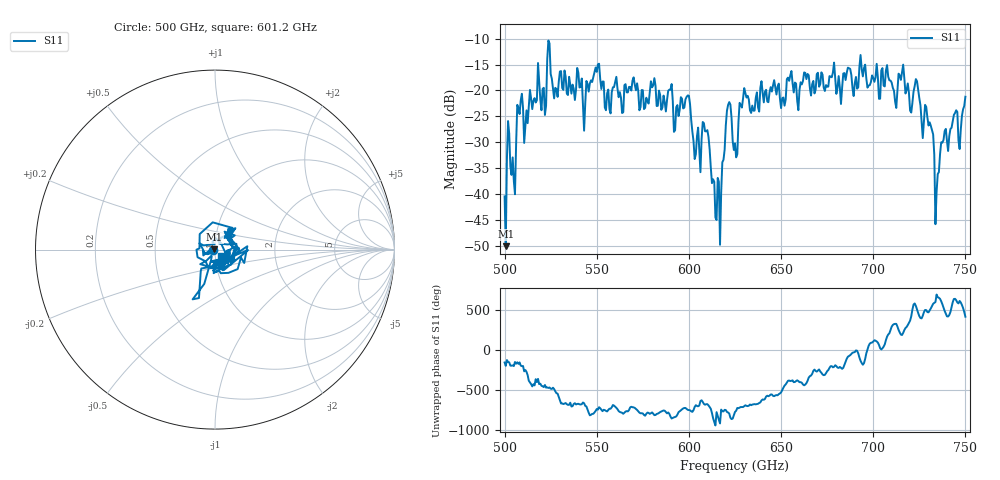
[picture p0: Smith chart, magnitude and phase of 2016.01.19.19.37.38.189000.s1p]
!Created with skrf (http://scikit-rf.org).
# GHz S RI R 50.0
!freq ReS11 ImS11
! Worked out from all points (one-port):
!   401 points, 500 GHz to 750 GHz, reference 50 ohm
!   lowest |S11| = -50.0 dB at 500.6 GHz (marker M1), VSWR 1.01, Z = 49.7 + j0.0993 ohm
!   |S11| at or under -10 dB: start of sweep to end of sweep
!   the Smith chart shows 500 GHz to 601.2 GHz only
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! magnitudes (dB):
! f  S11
! 500 GHz  -40.4
! 500.6 GHz  -50.0
! 502.5 GHz  -28.3
! 505 GHz  -37.4
! 508.1 GHz  -24.5
! 521.2 GHz  -19.5
! 524.4 GHz  -10.9
! 527.5 GHz  -19.5
! 531.2 GHz  -19.5
! 543.8 GHz  -22.5
! 550 GHz  -16.4
! 562.5 GHz  -20.3
! 580.6 GHz  -19.0
! 593.8 GHz  -22.8
! 599.4 GHz  -21.0
! 605 GHz  -27.2
! 608.8 GHz  -27.9
! 615.6 GHz  -36.9
! 621.2 GHz  -22.8
! 625 GHz  -30.2
! 630.6 GHz  -20.5
! 656.2 GHz  -18.6
! 687.5 GHz  -15.8
! 718.8 GHz  -18.6
! 729.4 GHz  -25.2
! 734.4 GHz  -39.5
! 738.1 GHz  -29.5
! 750 GHz  -21.2
